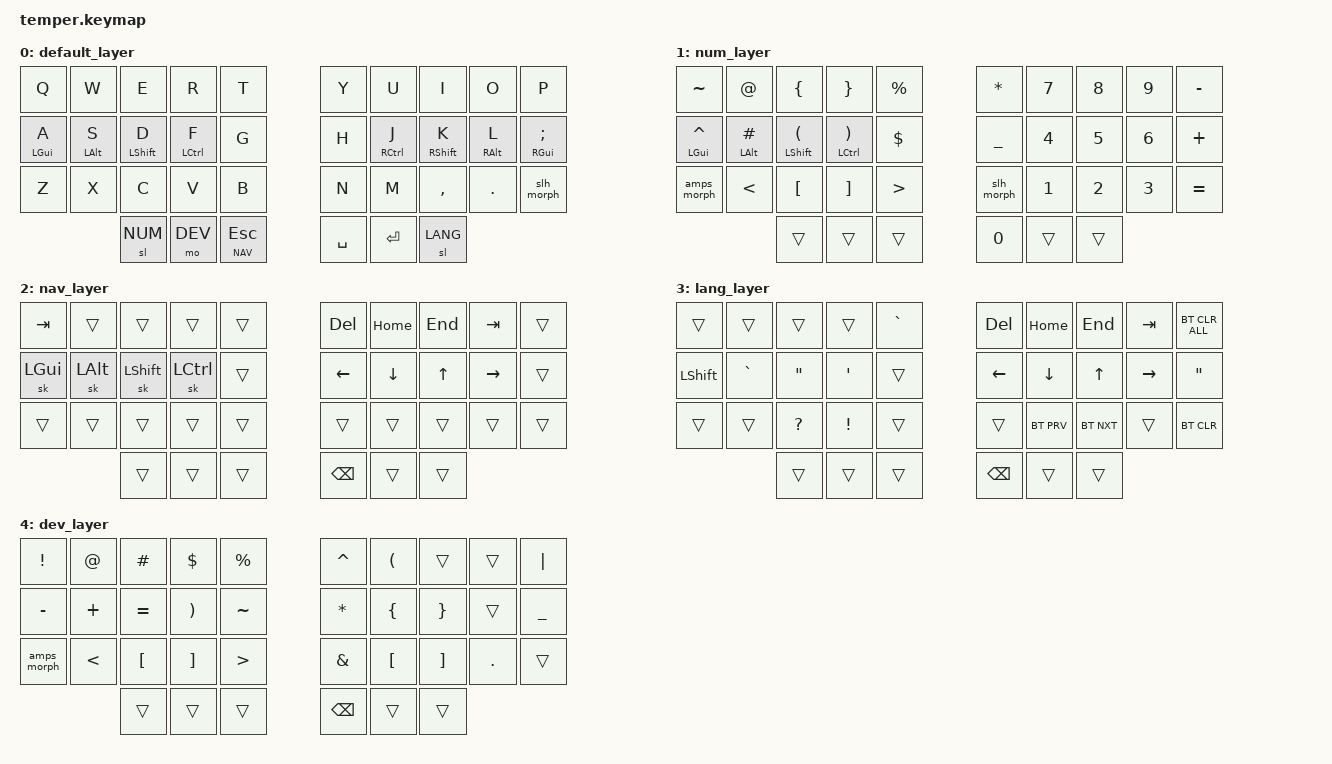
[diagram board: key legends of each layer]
/*
 * Copyright (c) 2020 The ZMK Contributors
 *
 * SPDX-License-Identifier: MIT
 */

#include <behaviors.dtsi>
#include <dt-bindings/zmk/keys.h>
#include <dt-bindings/zmk/bt.h>
#include <dt-bindings/zmk/outputs.h>

#define DEFAULT 0
#define NUM 1
#define NAV 2
#define LANG 3
#define DEV 4

#define ______ &trans

/ {
    behaviors {
        slh_morph: slh_morph {
            compatible = "zmk,behavior-mod-morph";
            #binding-cells = <0>;
            bindings = <&kp FSLH>, <&kp BSLH>;
            mods = <(MOD_LSFT)>;
        };
        amps_morph: amps_morph {
            compatible = "zmk,behavior-mod-morph";
            #binding-cells = <0>;
            bindings = <&kp AMPS>, <&kp PIPE>;
            mods = <(MOD_LSFT)>;
        };
        hml: home_row_mod_left {
            compatible = "zmk,behavior-hold-tap";
            #binding-cells = <2>;
            flavor = "balanced";
            require-prior-idle-ms = <150>;
            tapping-term-ms = <280>;
            quick-tap-ms = <175>;
            bindings = <&kp>, <&kp>;
            hold-trigger-key-positions = <5 6 7 8 9 15 16 17 18 19 25 26 27 28 29 33 34 35>;
            hold-trigger-on-release;
        };
        hmr: home_row_mod_right {
            compatible = "zmk,behavior-hold-tap";
            #binding-cells = <2>;
            flavor = "balanced";
            require-prior-idle-ms = <150>;
            tapping-term-ms = <280>;
            quick-tap-ms = <175>;
            bindings = <&kp>, <&kp>;
            hold-trigger-key-positions =<0 1 2 3 4 10 11 12 13 14 20 21 22 23 24 30 31 32>;
            hold-trigger-on-release;
        };
    };
        keymap {
                compatible = "zmk,keymap";

                default_layer {
                        bindings = <
// ╭─────────────┬─────────────┬─────────────┬─────────────┬─────────────╮   ╭─────────────┬─────────────┬─────────────┬─────────────┬─────────────╮
        &kp Q         &kp W         &kp E         &kp R         &kp T             &kp Y         &kp U         &kp I         &kp O         &kp P   
// ├─────────────┼─────────────┼─────────────┼─────────────┼─────────────┤   ├─────────────┼─────────────┼─────────────┼─────────────┼─────────────┤
     &hml LGUI A     &hml LALT S   &hml LSHFT D   &hml LCTRL F      &kp G         &kp H      &hmr RCTRL J   &hmr RSHFT K   &hmr RALT L &hmr RGUI SEMI
// ├─────────────┼─────────────┼─────────────┼─────────────┼─────────────┤   ├─────────────┼─────────────┼─────────────┼─────────────┼─────────────┤
        &kp Z         &kp X         &kp C         &kp V         &kp B             &kp N         &kp M       &kp COMMA      &kp DOT      &slh_morph
// ╰─────────────┴─────────────┼─────────────┼─────────────┼─────────────┤   ├─────────────┼─────────────┼─────────────┼─────────────┴─────────────╯
                                   &sl NUM       &mo DEV     &lt NAV ESC        &kp SPACE      &kp ENTER     &sl LANG
//                             ╰─────────────┴─────────────┴─────────────╯   ╰─────────────┴─────────────┴─────────────╯
                        >;
                };
                num_layer {
                        bindings = <
// ╭─────────────┬─────────────┬─────────────┬─────────────┬─────────────╮   ╭─────────────┬─────────────┬─────────────┬─────────────┬─────────────╮
      &kp TILDE       &kp AT       &kp LBRC      &kp RBRC     &kp PRCNT          &kp STAR       &kp N7        &kp N8        &kp N9      &kp MINUS
// ├─────────────┼─────────────┼─────────────┼─────────────┼─────────────┤   ├─────────────┼─────────────┼─────────────┼─────────────┼─────────────┤
    &mt LGUI CARET &mt LALT HASH &mt LSHFT LPAR &mt LCTRL RPAR &kp DLLR         &kp UNDER       &kp N4        &kp N5        &kp N6      &kp PLUS
// ├─────────────┼─────────────┼─────────────┼─────────────┼─────────────┤   ├─────────────┼─────────────┼─────────────┼─────────────┼─────────────┤
      &amps_morph     &kp LT       &kp LBKT      &kp RBKT       &kp GT          &slh_morph      &kp N1        &kp N2        &kp N3      &kp EQUAL
// ╰─────────────┴─────────────┼─────────────┼─────────────┼─────────────┤   ├─────────────┼─────────────┼─────────────┼─────────────┴─────────────╯
                                    ______        ______        ______            &kp N0        ______        ______
//                             ╰─────────────┴─────────────┴─────────────╯   ╰─────────────┴─────────────┴─────────────╯
                        >;
                };

                nav_layer {
                        bindings = <
// ╭─────────────┬─────────────┬─────────────┬─────────────┬─────────────╮   ╭─────────────┬─────────────┬─────────────┬─────────────┬─────────────╮
       &kp TAB       ______        ______        ______        ______           &kp DEL       &kp HOME      &kp END       &kp TAB       ______ 
// ├─────────────┼─────────────┼─────────────┼─────────────┼─────────────┤   ├─────────────┼─────────────┼─────────────┼─────────────┼─────────────┤
      &sk LGUI     &sk LALT      &sk LSHFT      &sk LCTRL       ______           &kp LEFT      &kp DOWN       &kp UP      &kp RIGHT     ______ 
// ├─────────────┼─────────────┼─────────────┼─────────────┼─────────────┤   ├─────────────┼─────────────┼─────────────┼─────────────┼─────────────┤
        ______        ______        ______        ______        ______            ______        ______        ______        ______        ______
// ╰─────────────┴─────────────┼─────────────┼─────────────┼─────────────┤   ├─────────────┼─────────────┼─────────────┼─────────────┴─────────────╯
                                    ______        ______        ______          &kp BSPC        ______        ______
//                             ╰─────────────┴─────────────┴─────────────╯   ╰─────────────┴────────────┴─────────────╯
                        >;
                };
                lang_layer {
                        bindings = <
// ╭─────────────┬─────────────┬─────────────┬─────────────┬─────────────╮   ╭─────────────┬─────────────┬─────────────┬─────────────┬─────────────╮
        ______        ______        ______        ______       &kp GRAVE        &kp DEL       &kp HOME      &kp END       &kp TAB     &bt BT_CLR_ALL
// ├─────────────┼─────────────┼─────────────┼─────────────┼─────────────┤   ├─────────────┼─────────────┼─────────────┼─────────────┼─────────────┤
      &kp LSHFT     &kp GRAVE      &kp DQT       &kp SQT        ______           &kp LEFT     &kp DOWN       &kp UP      &kp RIGHT      &kp DQT
// ├─────────────┼─────────────┼─────────────┼─────────────┼─────────────┤   ├─────────────┼─────────────┼─────────────┼─────────────┼─────────────┤
        ______        ______      &kp QMARK      &kp EXCL       ______            ______     &bt BT_PRV     &bt BT_NXT     ______      &bt BT_CLR
// ╰─────────────┴─────────────┼─────────────┼─────────────┼─────────────┤   ├─────────────┼─────────────┼─────────────┼─────────────┴─────────────╯
                                    ______        ______        ______          &kp BSPC        ______        ______
//                             ╰─────────────┴─────────────┴─────────────╯   ╰─────────────┴─────────────┴─────────────╯
                        >;
                };
                dev_layer {
                        bindings = <
// ╭─────────────┬─────────────┬─────────────┬─────────────┬─────────────╮   ╭─────────────┬─────────────┬─────────────┬─────────────┬─────────────╮
      &kp EXCL       &kp AT        &kp HASH      &kp DLLR      &kp PRCNT         &kp CARET      &kp LPAR     ______        ______           &kp PIPE
// ├─────────────┼─────────────┼─────────────┼─────────────┼─────────────┤   ├─────────────┼─────────────┼─────────────┼─────────────┼─────────────┤
      &kp MINUS      &kp PLUS      &kp EQUAL     &kp RPAR      &kp TILDE         &kp STAR       &kp LBRC      &kp RBRC     ______        &kp UNDER
// ├─────────────┼─────────────┼─────────────┼─────────────┼─────────────┤   ├─────────────┼─────────────┼─────────────┼─────────────┼─────────────┤
      &amps_morph    &kp LT        &kp LBKT      &kp RBKT      &kp GT            &kp AMPS       &kp LBKT      &kp RBKT      &kp DOT       ______
// ╰─────────────┴─────────────┼─────────────┼─────────────┼─────────────┤   ├─────────────┼─────────────┼─────────────┼─────────────┴─────────────╯
                                    ______        ______        ______          &kp BSPC        ______        ______
//                             ╰─────────────┴─────────────┴─────────────╯   ╰─────────────┴─────────────┴─────────────╯
                        >;
                };

        };
};
